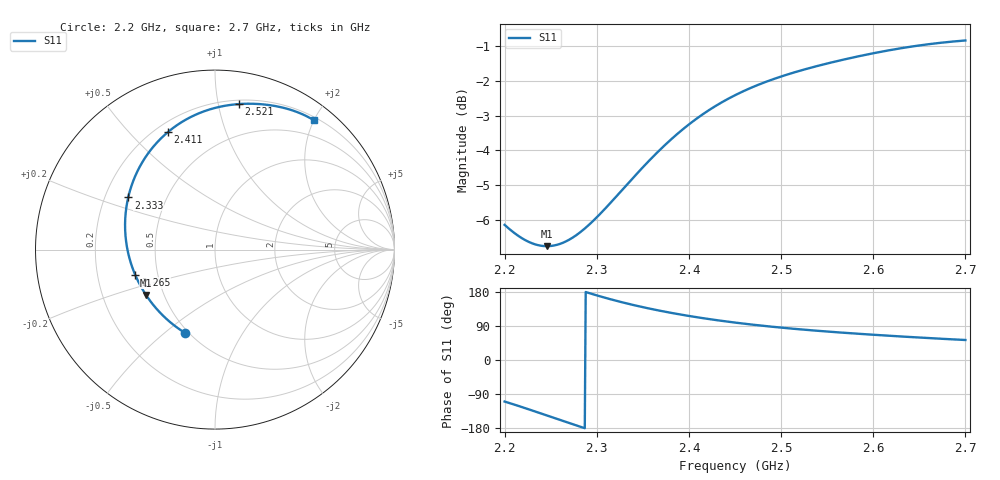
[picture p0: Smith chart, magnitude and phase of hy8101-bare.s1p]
! PRELIMINARY bare PCB unless shell_eps > 0; see README.md
! L220 output ($1N324); all Gerber copper, components omitted (C216/L220/C217 not populated)
# Hz S RI R 50
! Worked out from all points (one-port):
!   501 points, 2.2 GHz to 2.7 GHz, reference 50 ohm
!   lowest |S11| = -6.7 dB at 2.246 GHz (marker M1), VSWR 2.70, Z = 19.9 - j12.8 ohm
!   |S11| at or under -10 dB: nowhere
!   S11 on the Smith chart (normalised r, x): 2.2 GHz: 0.48, -0.59; 2.265 GHz: 0.37, -0.13; 2.333 GHz: 0.30, +0.25; 2.411 GHz: 0.25, +0.65; 2.521 GHz: 0.23, +1.15; 2.7 GHz: 0.24, +1.99
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2.2e9  -0.1657 -0.4649
2.209e9  -0.2148 -0.4318
2.221e9  -0.2762 -0.3808
2.234e9  -0.3361 -0.3176
2.246e9  -0.3843 -0.2529
2.263e9  -0.4393 -0.1528
2.265e9  -0.4446 -0.1405
2.28e9  -0.4772 -0.046
2.295e9  -0.4959 0.0509
2.31e9  -0.501 0.1477
2.325e9  -0.4929 0.242
2.333e9  -0.4836 0.2906
2.346e9  -0.4616 0.366
2.359e9  -0.4322 0.4363
2.374e9  -0.3905 0.5099
2.388e9  -0.3457 0.5708
2.411e9  -0.2635 0.6538
2.43e9  -0.1916 0.7066
2.45e9  -0.1152 0.7482
2.48e9  -0.00492 0.788
2.513e9  0.106 0.8084
2.521e9  0.131 0.8107
2.547e9  0.2077 0.8126
2.575e9  0.283 0.8076
2.606e9  0.3592 0.7952
2.638e9  0.431 0.7758
2.671e9  0.4974 0.7494
2.7e9  0.5489 0.7221
